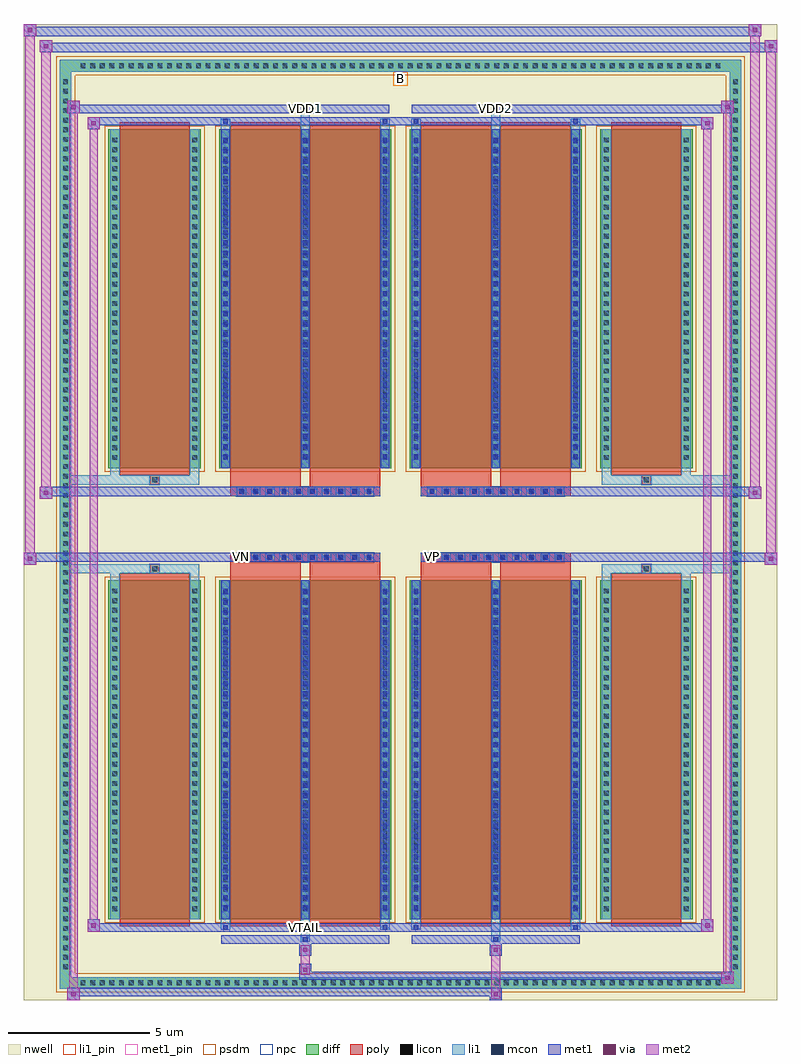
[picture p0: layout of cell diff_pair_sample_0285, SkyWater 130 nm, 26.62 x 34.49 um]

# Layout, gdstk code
import gdstk
lib = gdstk.Library(unit=1e-6, precision=5e-09)
def R(c, l, rs):  # rectangles x0, y0, x1, y1
    for r in rs: c.add(gdstk.rectangle(r[:2], r[2:], *l))
def A(c, l, x, y, w, h, nx, ny, dx, dy):  # array of equal rectangles
    R(c, l, [(x+i*dx, y+j*dy, x+i*dx+w, y+j*dy+h) for i in range(nx) for j in range(ny)])
def P(c, l, *ps):  # polygons
    for p in ps: c.add(gdstk.Polygon(p, *l))
nwell = (64, 20)
diff = (65, 20)
poly = (66, 20)
licon = (66, 44)
li1_pin = (67, 16)
li1 = (67, 20)
mcon = (67, 44)
met1_pin = (68, 16)
met1 = (68, 20)
via = (68, 44)
met2 = (69, 20)
psdm = (94, 20)
npc = (95, 20)

diff_pair_sample_0285 = lib.new_cell('diff_pair_sample_0285')
R(diff_pair_sample_0285, nwell, [(-13.31,-16.81,13.31,17.68), (-10.63,-15,-0.01,-0.8), (0.01,-15,10.63,-0.8), (-10.63,0.8,-0.01,15), (0.01,0.8,10.63,15)])
A(diff_pair_sample_0285, diff, -11.425, -16.41, 0.41, 0.41, 67, 2, 0.34, 32.41)
A(diff_pair_sample_0285, diff, -12.04, -15.845, 0.41, 0.41, 1, 93, 0, 0.34)
A(diff_pair_sample_0285, diff, 11.63, -15.845, 0.41, 0.41, 1, 93, 0, 0.34)
R(diff_pair_sample_0285, diff, [(-11.425,-16.41,11.425,-16), (-12.04,-15.845,-11.63,15.845), (11.63,-15.845,12.04,15.845), (-10.32,-13.955,-7.05,-1.985), (-6.41,-13.955,-0.32,-1.985), (0.32,-13.955,6.41,-1.985), (7.05,-13.955,10.32,-1.985), (-10.32,1.985,-7.05,13.955), (-6.41,1.985,-0.32,13.955), (0.32,1.985,6.41,13.955), (7.05,1.985,10.32,13.955), (-11.425,16,11.425,16.41)])
P(diff_pair_sample_0285, diff, [(12.04,16.41),(-12.04,16.41),(-12.04,-16),(-11.63,-16),(-11.63,16),(11.63,16),(11.63,-16),(-11.63,-16),(-12.04,-16),(-12.04,-16.41),(12.04,-16.41)])
A(diff_pair_sample_0285, poly, -5.78, -1.33, 0.33, 0.33, 10, 2, 0.5, 2.33)
A(diff_pair_sample_0285, poly, 0.95, -1.33, 0.33, 0.33, 10, 2, 0.5, 2.33)
R(diff_pair_sample_0285, poly, [(-9.93,-14.205,-7.44,-1.735), (-6.02,-14.205,-3.53,-1.735), (-3.2,-14.205,-0.71,-1.735), (0.71,-14.205,3.2,-1.735), (3.53,-14.205,6.02,-1.735), (7.44,-14.205,9.93,-1.735), (-8.85,-1.735,-8.52,-1.405), (-8.85,-1.735,-8.52,-1.405), (-6.02,-1.735,-3.53,-1.33), (-3.2,-1.735,-0.71,-1.33), (0.71,-1.735,3.2,-1.33), (3.53,-1.735,6.02,-1.33), (8.52,-1.735,8.85,-1.405), (8.52,-1.735,8.85,-1.405), (-6.02,-1.33,-0.71,-1), (0.71,-1.33,6.02,-1), (-6.02,1,-0.71,1.33), (0.71,1,6.02,1.33), (-6.02,1.33,-3.53,1.735), (-3.2,1.33,-0.71,1.735), (0.71,1.33,3.2,1.735), (3.53,1.33,6.02,1.735), (-8.85,1.405,-8.52,1.735), (-8.85,1.405,-8.52,1.735), (8.52,1.405,8.85,1.735), (8.52,1.405,8.85,1.735), (-9.93,1.735,-7.44,14.205), (-6.02,1.735,-3.53,14.205), (-3.2,1.735,-0.71,14.205), (0.71,1.735,3.2,14.205), (3.53,1.735,6.02,14.205), (7.44,1.735,9.93,14.205)])
A(diff_pair_sample_0285, licon, -11.305, -16.29, 0.17, 0.17, 67, 2, 0.34, 32.41)
A(diff_pair_sample_0285, licon, -11.92, -15.725, 0.17, 0.17, 1, 93, 0, 0.34)
A(diff_pair_sample_0285, licon, 11.75, -15.725, 0.17, 0.17, 1, 93, 0, 0.34)
A(diff_pair_sample_0285, licon, -10.18, -13.665, 0.17, 0.17, 1, 34, 0, 0.34)
A(diff_pair_sample_0285, licon, -7.36, -13.665, 0.17, 0.17, 1, 34, 0, 0.34)
A(diff_pair_sample_0285, licon, -6.27, -13.665, 0.17, 0.17, 3, 34, 2.82, 0.34)
A(diff_pair_sample_0285, licon, 0.46, -13.665, 0.17, 0.17, 3, 34, 2.82, 0.34)
A(diff_pair_sample_0285, licon, 7.19, -13.665, 0.17, 0.17, 1, 34, 0, 0.34)
A(diff_pair_sample_0285, licon, 10.01, -13.665, 0.17, 0.17, 1, 34, 0, 0.34)
A(diff_pair_sample_0285, licon, -5.7, -1.25, 0.17, 0.17, 10, 2, 0.5, 2.33)
A(diff_pair_sample_0285, licon, 1.03, -1.25, 0.17, 0.17, 10, 2, 0.5, 2.33)
A(diff_pair_sample_0285, licon, -10.18, 2.275, 0.17, 0.17, 1, 34, 0, 0.34)
A(diff_pair_sample_0285, licon, -7.36, 2.275, 0.17, 0.17, 1, 34, 0, 0.34)
A(diff_pair_sample_0285, licon, -6.27, 2.275, 0.17, 0.17, 3, 34, 2.82, 0.34)
A(diff_pair_sample_0285, licon, 0.46, 2.275, 0.17, 0.17, 3, 34, 2.82, 0.34)
A(diff_pair_sample_0285, licon, 7.19, 2.275, 0.17, 0.17, 1, 34, 0, 0.34)
A(diff_pair_sample_0285, licon, 10.01, 2.275, 0.17, 0.17, 1, 34, 0, 0.34)
R(diff_pair_sample_0285, licon, [(-8.77,-1.655,-8.6,-1.485), (8.6,-1.655,8.77,-1.485), (-8.77,1.485,-8.6,1.655), (8.6,1.485,8.77,1.655)])
R(diff_pair_sample_0285, li1_pin, [(-0.25,15.5,0.25,16)])
A(diff_pair_sample_0285, li1, -11.385, -16.37, 0.33, 0.33, 67, 2, 0.34, 32.41)
A(diff_pair_sample_0285, li1, -12, -15.805, 0.33, 0.33, 1, 93, 0, 0.34)
A(diff_pair_sample_0285, li1, 11.67, -15.805, 0.33, 0.33, 1, 93, 0, 0.34)
A(diff_pair_sample_0285, li1, -6.35, -13.955, 0.33, 11.97, 3, 2, 2.82, 15.94)
A(diff_pair_sample_0285, li1, 0.38, -13.955, 0.33, 11.97, 3, 2, 2.82, 15.94)
A(diff_pair_sample_0285, li1, -10.26, -13.745, 0.33, 0.33, 1, 34, 0, 0.34)
A(diff_pair_sample_0285, li1, -7.44, -13.745, 0.33, 0.33, 1, 34, 0, 0.34)
A(diff_pair_sample_0285, li1, -6.35, -13.745, 0.33, 0.33, 3, 34, 2.82, 0.34)
A(diff_pair_sample_0285, li1, 0.38, -13.745, 0.33, 0.33, 3, 34, 2.82, 0.34)
A(diff_pair_sample_0285, li1, 7.11, -13.745, 0.33, 0.33, 1, 34, 0, 0.34)
A(diff_pair_sample_0285, li1, 9.93, -13.745, 0.33, 0.33, 1, 34, 0, 0.34)
A(diff_pair_sample_0285, li1, -6.27, -13.635, 0.17, 0.17, 3, 32, 2.82, 0.36)
A(diff_pair_sample_0285, li1, -6.27, -13.635, 0.17, 11.33, 3, 2, 2.82, 15.94)
A(diff_pair_sample_0285, li1, 0.46, -13.635, 0.17, 0.17, 3, 32, 2.82, 0.36)
A(diff_pair_sample_0285, li1, 0.46, -13.635, 0.17, 11.33, 3, 2, 2.82, 15.94)
A(diff_pair_sample_0285, li1, -5.78, -1.33, 0.33, 0.33, 10, 2, 0.5, 2.33)
A(diff_pair_sample_0285, li1, 0.95, -1.33, 0.33, 0.33, 10, 2, 0.5, 2.33)
A(diff_pair_sample_0285, li1, -10.26, 2.195, 0.33, 0.33, 1, 34, 0, 0.34)
A(diff_pair_sample_0285, li1, -7.44, 2.195, 0.33, 0.33, 1, 34, 0, 0.34)
A(diff_pair_sample_0285, li1, -6.35, 2.195, 0.33, 0.33, 3, 34, 2.82, 0.34)
A(diff_pair_sample_0285, li1, 0.38, 2.195, 0.33, 0.33, 3, 34, 2.82, 0.34)
A(diff_pair_sample_0285, li1, 7.11, 2.195, 0.33, 0.33, 1, 34, 0, 0.34)
A(diff_pair_sample_0285, li1, 9.93, 2.195, 0.33, 0.33, 1, 34, 0, 0.34)
A(diff_pair_sample_0285, li1, -6.27, 2.305, 0.17, 0.17, 3, 32, 2.82, 0.36)
A(diff_pair_sample_0285, li1, 0.46, 2.305, 0.17, 0.17, 3, 32, 2.82, 0.36)
R(diff_pair_sample_0285, li1, [(-12.04,-16.41,-11.63,-16), (-12.04,-16.41,-11.63,-16), (-11.63,-16.41,11.63,-16), (11.63,-16.41,12.04,-16), (11.63,-16.41,12.04,-16), (-12.04,-16,-11.63,16), (11.63,-16,12.04,16), (-3.53,-14.76,-3.2,-13.955), (-3.45,-14.76,-3.28,-14.59), (3.2,-14.76,3.53,-13.955), (3.28,-14.76,3.45,-14.59), (-6.35,-14.33,-6.02,-13.955), (-6.27,-14.33,-6.1,-14.16), (-0.71,-14.33,-0.38,-13.955), (-0.63,-14.33,-0.46,-14.16), (0.38,-14.33,0.71,-13.955), (0.46,-14.33,0.63,-14.16), (6.02,-14.33,6.35,-13.955), (6.1,-14.33,6.27,-14.16), (-10.26,-13.955,-9.93,-1.985), (-7.44,-13.955,-7.11,-1.985), (7.11,-13.955,7.44,-1.985), (9.93,-13.955,10.26,-1.985), (-10.26,-1.985,-9.93,-1.405), (-7.44,-1.985,-7.11,-1.405), (7.11,-1.985,7.44,-1.405), (9.93,-1.985,10.26,-1.405), (-12.04,-1.735,-8.85,-1.405), (-10.26,-1.735,-8.85,-1.405), (-8.85,-1.735,-8.52,-1.405), (-8.52,-1.735,-7.11,-1.405), (7.11,-1.735,8.52,-1.405), (8.52,-1.735,8.85,-1.405), (8.52,-1.735,12.04,-1.405), (8.85,-1.735,10.26,-1.405), (-12.04,1.405,-8.85,1.735), (-10.26,1.405,-8.85,1.735), (-10.26,1.405,-9.93,1.985), (-8.85,1.405,-8.52,1.735), (-8.52,1.405,-7.11,1.735), (-7.44,1.405,-7.11,1.985), (7.11,1.405,8.52,1.735), (7.11,1.405,7.44,1.985), (8.52,1.405,8.85,1.735), (8.52,1.405,12.04,1.735), (8.85,1.405,10.26,1.735), (9.93,1.405,10.26,1.985), (-10.26,1.985,-9.93,13.955), (-7.44,1.985,-7.11,13.955), (7.11,1.985,7.44,13.955), (9.93,1.985,10.26,13.955), (-6.35,13.955,-6.02,14.33), (-3.53,13.955,-3.2,14.76), (-0.71,13.955,-0.38,14.33), (0.38,13.955,0.71,14.33), (3.2,13.955,3.53,14.76), (6.02,13.955,6.35,14.33), (-6.27,14.16,-6.1,14.33), (-0.63,14.16,-0.46,14.33), (0.46,14.16,0.63,14.33), (6.1,14.16,6.27,14.33), (-3.45,14.59,-3.28,14.76), (3.28,14.59,3.45,14.76), (-12.04,16,-11.63,16.41), (-12.04,16,-11.63,16.41), (-11.63,16,11.63,16.41), (11.63,16,12.04,16.41), (11.63,16,12.04,16.41)])
A(diff_pair_sample_0285, mcon, -6.27, -13.635, 0.17, 0.17, 3, 32, 2.82, 0.36)
A(diff_pair_sample_0285, mcon, 0.46, -13.635, 0.17, 0.17, 3, 32, 2.82, 0.36)
A(diff_pair_sample_0285, mcon, -5.7, -1.25, 0.17, 0.17, 10, 2, 0.5, 2.33)
A(diff_pair_sample_0285, mcon, 1.03, -1.25, 0.17, 0.17, 10, 2, 0.5, 2.33)
A(diff_pair_sample_0285, mcon, -6.27, 2.305, 0.17, 0.17, 3, 32, 2.82, 0.36)
A(diff_pair_sample_0285, mcon, 0.46, 2.305, 0.17, 0.17, 3, 32, 2.82, 0.36)
R(diff_pair_sample_0285, mcon, [(-3.45,-14.76,-3.28,-14.59), (3.28,-14.76,3.45,-14.59), (-6.27,-14.33,-6.1,-14.16), (-0.63,-14.33,-0.46,-14.16), (0.46,-14.33,0.63,-14.16), (6.1,-14.33,6.27,-14.16), (-6.27,14.16,-6.1,14.33), (-0.63,14.16,-0.46,14.33), (0.46,14.16,0.63,14.33), (6.1,14.16,6.27,14.33), (-3.45,14.59,-3.28,14.76), (3.28,14.59,3.45,14.76)])
R(diff_pair_sample_0285, met1_pin, [(-3.5,-14.37,-3.23,-14.1), (-5.75,-1.29,-5.48,-1.02), (0.98,-1.29,1.25,-1.02), (-3.5,14.55,-3.23,14.82), (3.23,14.55,3.5,14.82)])
A(diff_pair_sample_0285, met1, -6.33, -13.955, 0.29, 11.97, 3, 2, 2.82, 15.94)
A(diff_pair_sample_0285, met1, 0.4, -13.955, 0.29, 11.97, 3, 2, 2.82, 15.94)
A(diff_pair_sample_0285, met1, -6.33, -13.695, 0.29, 0.29, 3, 32, 2.82, 0.36)
A(diff_pair_sample_0285, met1, 0.4, -13.695, 0.29, 0.29, 3, 32, 2.82, 0.36)
A(diff_pair_sample_0285, met1, -5.76, -1.31, 0.29, 0.29, 10, 2, 0.5, 2.33)
A(diff_pair_sample_0285, met1, 0.97, -1.31, 0.29, 0.29, 10, 2, 0.5, 2.33)
A(diff_pair_sample_0285, met1, -6.33, 2.245, 0.29, 0.29, 3, 32, 2.82, 0.36)
A(diff_pair_sample_0285, met1, 0.4, 2.245, 0.29, 0.29, 3, 32, 2.82, 0.36)
R(diff_pair_sample_0285, met1, [(-11.77,-16.81,-11.34,-16.38), (3.15,-16.81,3.58,-16.38), (-11.77,-16.67,3.58,-16.38), (11.34,-16.24,11.77,-15.81), (-3.58,-16.1,11.77,-15.81), (-3.58,-15.96,-3.15,-15.53), (-3.58,-15.25,-3.15,-14.82), (3.15,-15.25,3.58,-14.82), (-6.33,-14.82,-0.4,-14.53), (-3.51,-14.82,-3.22,-14.53), (0.4,-14.82,6.33,-14.53), (3.22,-14.82,3.51,-14.53), (-11.06,-14.39,-10.63,-13.96), (-11.06,-14.39,-6.33,-14.1), (-6.33,-14.39,-6.04,-14.1), (-6.33,-14.39,-0.4,-14.1), (-0.69,-14.39,-0.4,-14.1), (-0.4,-14.39,0.4,-14.1), (0.4,-14.39,0.69,-14.1), (0.4,-14.39,6.33,-14.1), (6.04,-14.39,6.33,-14.1), (6.33,-14.39,11.06,-14.1), (10.63,-14.39,11.06,-13.96), (-13.31,-1.43,-12.88,-1), (12.88,-1.43,13.31,-1), (-13.31,-1.33,-0.71,-1), (-6.02,-1.33,-0.71,-1), (0.71,-1.33,6.02,-1), (0.71,-1.33,13.31,-1), (-12.74,0.9,-12.31,1.33), (12.31,0.9,12.74,1.33), (-12.74,1,-6.02,1.33), (-6.02,1,-0.71,1.33), (0.71,1,6.02,1.33), (6.02,1,12.74,1.33), (-11.06,13.96,-10.63,14.39), (10.63,13.96,11.06,14.39), (-11.06,14.1,-6.33,14.39), (-6.33,14.1,-6.04,14.39), (-6.33,14.1,-0.4,14.39), (-0.69,14.1,-0.4,14.39), (-0.4,14.1,0.4,14.39), (0.4,14.1,0.69,14.39), (0.4,14.1,6.33,14.39), (6.04,14.1,6.33,14.39), (6.33,14.1,11.06,14.39), (-11.77,14.53,-11.34,14.96), (-11.77,14.53,-6.33,14.82), (-6.33,14.53,-0.4,14.82), (-3.51,14.53,-3.22,14.82), (0.4,14.53,6.33,14.82), (3.22,14.53,3.51,14.82), (6.33,14.53,11.77,14.82), (11.34,14.53,11.77,14.96), (-12.74,16.68,-12.31,17.11), (-12.74,16.68,-10.63,17.01), (-10.63,16.68,10.63,17.01), (10.63,16.68,13.31,17.01), (12.88,16.68,13.31,17.11), (-13.31,17.25,-12.88,17.68), (-13.31,17.25,-10.63,17.58), (-10.63,17.25,10.63,17.58), (10.63,17.25,12.74,17.58), (12.31,17.25,12.74,17.68)])
R(diff_pair_sample_0285, via, [(-11.63,-16.67,-11.48,-16.52), (3.29,-16.67,3.44,-16.52), (11.48,-16.1,11.63,-15.95), (-3.44,-15.82,-3.29,-15.67), (-3.44,-15.11,-3.29,-14.96), (3.29,-15.11,3.44,-14.96), (-10.92,-14.25,-10.77,-14.1), (10.77,-14.25,10.92,-14.1), (-13.17,-1.29,-13.02,-1.14), (13.02,-1.29,13.17,-1.14), (-12.6,1.04,-12.45,1.19), (12.45,1.04,12.6,1.19), (-10.92,14.1,-10.77,14.25), (10.77,14.1,10.92,14.25), (-11.63,14.67,-11.48,14.82), (11.48,14.67,11.63,14.82), (-12.6,16.82,-12.45,16.97), (13.02,16.82,13.17,16.97), (-13.17,17.39,-13.02,17.54), (12.45,17.39,12.6,17.54)])
R(diff_pair_sample_0285, met2, [(-11.77,-16.81,-11.34,-16.38), (-11.7,-16.81,-11.41,14.96), (-11.41,-16.81,-11.34,-16.38), (-11.72,-16.76,-11.39,-16.43), (3.2,-16.76,3.53,-16.43), (3.2,-16.43,3.53,-15.2), (11.34,-16.24,11.77,-15.81), (11.41,-16.24,11.7,14.96), (11.7,-16.24,11.77,-15.81), (11.39,-16.19,11.72,-15.86), (-3.53,-15.91,-3.2,-15.58), (-3.53,-15.58,-3.2,-15.2), (-3.53,-15.2,-3.2,-14.87), (3.2,-15.2,3.53,-14.87), (-11.06,-14.39,-10.63,-13.96), (-10.99,-14.39,-10.7,14.39), (-10.7,-14.39,-10.63,-13.96), (10.63,-14.39,11.06,-13.96), (10.7,-14.39,10.99,14.39), (10.99,-14.39,11.06,-13.96), (-11.01,-14.34,-10.68,-14.01), (10.68,-14.34,11.01,-14.01), (-13.31,-1.43,-12.88,-1), (-13.26,-1.43,-12.93,17.68), (-12.93,-1.43,-12.88,-1), (12.88,-1.43,13.31,-1), (12.93,-1.43,13.26,17.11), (13.26,-1.43,13.31,-1), (-13.26,-1.38,-12.93,-1.05), (12.93,-1.38,13.26,-1.05), (-12.74,0.9,-12.31,1.33), (-12.69,0.9,-12.36,17.11), (-12.36,0.9,-12.31,1.33), (12.31,0.9,12.74,1.33), (12.36,0.9,12.69,17.68), (12.69,0.9,12.74,1.33), (-12.69,0.95,-12.36,1.28), (12.36,0.95,12.69,1.28), (-11.06,13.96,-10.63,14.39), (-10.7,13.96,-10.63,14.39), (10.63,13.96,11.06,14.39), (10.99,13.96,11.06,14.39), (-11.01,14.01,-10.68,14.34), (10.68,14.01,11.01,14.34), (-11.77,14.53,-11.34,14.96), (-11.41,14.53,-11.34,14.96), (11.34,14.53,11.77,14.96), (11.7,14.53,11.77,14.96), (-11.72,14.58,-11.39,14.91), (11.39,14.58,11.72,14.91), (-12.74,16.68,-12.31,17.11), (-12.36,16.68,-12.31,17.11), (12.88,16.68,13.31,17.11), (13.26,16.68,13.31,17.11), (-12.69,16.73,-12.36,17.06), (12.93,16.73,13.26,17.06), (-13.31,17.25,-12.88,17.68), (-12.93,17.25,-12.88,17.68), (12.31,17.25,12.74,17.68), (12.69,17.25,12.74,17.68), (-13.26,17.3,-12.93,17.63), (12.36,17.3,12.69,17.63)])
R(diff_pair_sample_0285, psdm, [(-10.45,-14.085,-6.92,-1.855), (-6.54,-14.085,-0.19,-1.855), (0.19,-14.085,6.54,-1.855), (6.92,-14.085,10.45,-1.855), (-10.45,1.855,-6.92,14.085), (-6.54,1.855,-0.19,14.085), (0.19,1.855,6.54,14.085), (6.92,1.855,10.45,14.085)])
P(diff_pair_sample_0285, psdm, [(12.17,16.54),(-12.17,16.54),(-12.17,-15.87),(-11.5,-15.87),(-11.5,15.87),(11.5,15.87),(11.5,-15.87),(-11.5,-15.87),(-12.17,-15.87),(-12.17,-16.54),(12.17,-16.54)])
A(diff_pair_sample_0285, npc, -5.8, -1.35, 0.37, 0.37, 10, 2, 0.5, 2.33)
A(diff_pair_sample_0285, npc, 0.93, -1.35, 0.37, 0.37, 10, 2, 0.5, 2.33)
R(diff_pair_sample_0285, npc, [(-8.87,-1.755,-8.5,-1.385), (8.5,-1.755,8.87,-1.385), (-5.8,-1.35,-4.93,-0.98), (-5.8,-1.35,-4.93,-0.98), (-5.3,-1.35,-4.43,-0.98), (-5.3,-1.35,-4.43,-0.98), (-4.8,-1.35,-3.93,-0.98), (-4.8,-1.35,-3.93,-0.98), (-4.3,-1.35,-3.43,-0.98), (-4.3,-1.35,-3.43,-0.98), (-3.8,-1.35,-2.93,-0.98), (-3.8,-1.35,-2.93,-0.98), (-3.3,-1.35,-2.43,-0.98), (-3.3,-1.35,-2.43,-0.98), (-2.8,-1.35,-1.93,-0.98), (-2.8,-1.35,-1.93,-0.98), (-2.3,-1.35,-1.43,-0.98), (-2.3,-1.35,-1.43,-0.98), (-1.8,-1.35,-0.93,-0.98), (-1.8,-1.35,-0.93,-0.98), (0.93,-1.35,1.8,-0.98), (0.93,-1.35,1.8,-0.98), (1.43,-1.35,2.3,-0.98), (1.43,-1.35,2.3,-0.98), (1.93,-1.35,2.8,-0.98), (1.93,-1.35,2.8,-0.98), (2.43,-1.35,3.3,-0.98), (2.43,-1.35,3.3,-0.98), (2.93,-1.35,3.8,-0.98), (2.93,-1.35,3.8,-0.98), (3.43,-1.35,4.3,-0.98), (3.43,-1.35,4.3,-0.98), (3.93,-1.35,4.8,-0.98), (3.93,-1.35,4.8,-0.98), (4.43,-1.35,5.3,-0.98), (4.43,-1.35,5.3,-0.98), (4.93,-1.35,5.8,-0.98), (4.93,-1.35,5.8,-0.98), (-5.8,0.98,-4.93,1.35), (-5.8,0.98,-4.93,1.35), (-5.3,0.98,-4.43,1.35), (-5.3,0.98,-4.43,1.35), (-4.8,0.98,-3.93,1.35), (-4.8,0.98,-3.93,1.35), (-4.3,0.98,-3.43,1.35), (-4.3,0.98,-3.43,1.35), (-3.8,0.98,-2.93,1.35), (-3.8,0.98,-2.93,1.35), (-3.3,0.98,-2.43,1.35), (-3.3,0.98,-2.43,1.35), (-2.8,0.98,-1.93,1.35), (-2.8,0.98,-1.93,1.35), (-2.3,0.98,-1.43,1.35), (-2.3,0.98,-1.43,1.35), (-1.8,0.98,-0.93,1.35), (-1.8,0.98,-0.93,1.35), (0.93,0.98,1.8,1.35), (0.93,0.98,1.8,1.35), (1.43,0.98,2.3,1.35), (1.43,0.98,2.3,1.35), (1.93,0.98,2.8,1.35), (1.93,0.98,2.8,1.35), (2.43,0.98,3.3,1.35), (2.43,0.98,3.3,1.35), (2.93,0.98,3.8,1.35), (2.93,0.98,3.8,1.35), (3.43,0.98,4.3,1.35), (3.43,0.98,4.3,1.35), (3.93,0.98,4.8,1.35), (3.93,0.98,4.8,1.35), (4.43,0.98,5.3,1.35), (4.43,0.98,5.3,1.35), (4.93,0.98,5.8,1.35), (4.93,0.98,5.8,1.35), (-8.87,1.385,-8.5,1.755), (8.5,1.385,8.87,1.755)])
diff_pair_sample_0285.add(gdstk.Label('VTAIL', (-3.365,-14.235), layer=68, texttype=5))
diff_pair_sample_0285.add(gdstk.Label('VN', (-5.615,-1.155), layer=68, texttype=5))
diff_pair_sample_0285.add(gdstk.Label('VP', (1.115,-1.155), layer=68, texttype=5))
diff_pair_sample_0285.add(gdstk.Label('B', (0,15.75), layer=67, texttype=5))
diff_pair_sample_0285.add(gdstk.Label('VDD2', (3.365,14.685), layer=68, texttype=5))
diff_pair_sample_0285.add(gdstk.Label('VDD1', (-3.365,14.685), layer=68, texttype=5))

lib.write_gds('diff_pair_sample_0285.gds')
